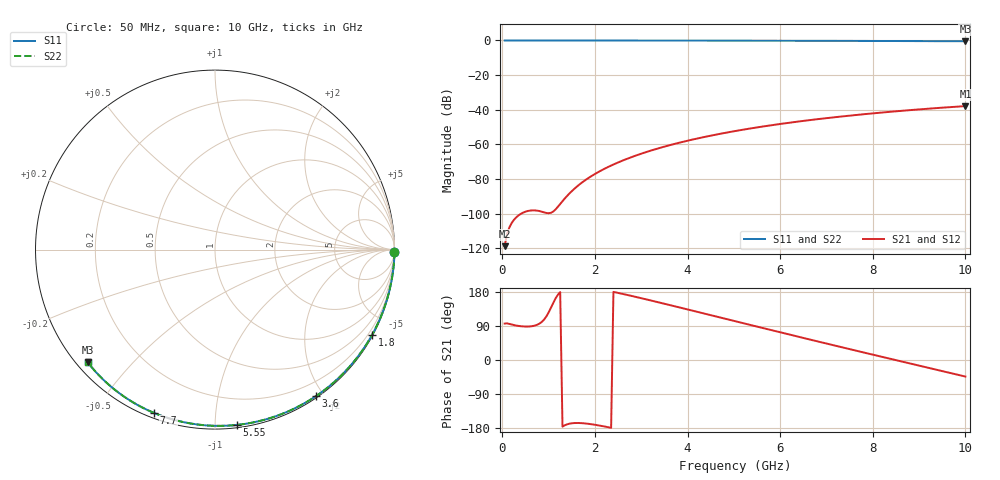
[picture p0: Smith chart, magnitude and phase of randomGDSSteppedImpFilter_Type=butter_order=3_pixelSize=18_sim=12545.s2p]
! freq	dB(S11)	phase(S11)	dB(S12)	phase(S12)
!  dB(S21)	phase(S21)	dB(S22)	phase(S22)
!S-par simulation data
#  GHz  S  DB  R 50
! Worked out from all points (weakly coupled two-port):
!   200 points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, 50 MHz to 10 GHz, reference 50 ohm
!   highest |S21| = -37.93 dB at 10 GHz (marker M1); lowest = -118.9 dB at 50 MHz (marker M2)
!   lowest |S11| = -0.5 dB at 10 GHz (marker M3), VSWR 36.90, Z = 1.55 - j18.9 ohm
!   |S11| at or under -10 dB: nowhere
!   |S22| runs from -0.5 to 0.0 dB; largest |S21 - S12| = 0
!   S11 on the Smith chart (normalised r, x): 50 MHz: open; 1.8 GHz: 0.03, -3.95; 3.6 GHz: 0.02, -1.90; 5.55 GHz: 0.02, -1.13; 7.7 GHz: 0.02, -0.69; 10 GHz: 0.03, -0.38
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0.05  -0.00 -0.8  -118.86 96.1  -118.86 96.1  -0.00 -0.8
0.45  -0.01 -7.2  -99.48 88.5  -99.48 88.5  -0.01 -7.2
0.9  -0.02 -14.3  -99.30 106.4  -99.30 106.4  -0.02 -14.3
1.75  -0.04 -27.6  -81.51 -166.9  -81.51 -166.9  -0.04 -27.6
1.8  -0.04 -28.4  -80.56 -167.5  -80.56 -167.5  -0.04 -28.4
1.85  -0.04 -29.2  -79.65 -168.2  -79.65 -168.2  -0.04 -29.2
2.05  -0.04 -32.3  -76.38 -171.9  -76.38 -171.9  -0.04 -32.3
2.25  -0.05 -35.3  -73.55 -176.5  -73.55 -176.5  -0.05 -35.3
2.55  -0.05 -39.9  -69.92 175.8  -69.92 175.8  -0.05 -39.9
2.95  -0.06 -45.9  -65.88 164.6  -65.88 164.6  -0.06 -45.9
3.4  -0.07 -52.6  -62.09 151.4  -62.09 151.4  -0.07 -52.6
3.6  -0.07 -55.5  -60.61 145.5  -60.61 145.5  -0.07 -55.5
3.9  -0.08 -59.8  -58.56 136.5  -58.56 136.5  -0.08 -59.8
4.3  -0.09 -65.5  -56.12 124.4  -56.12 124.4  -0.09 -65.5
5.05  -0.12 -76.0  -52.23 101.8  -52.23 101.8  -0.12 -76.0
5.55  -0.14 -82.8  -50.03 86.7  -50.03 86.7  -0.14 -82.8
6.1  -0.16 -90.1  -47.89 70.1  -47.89 70.1  -0.16 -90.1
6.7  -0.19 -97.9  -45.82 52.3  -45.82 52.3  -0.19 -97.9
7.7  -0.25 -110.5  -42.90 22.8  -42.90 22.8  -0.25 -110.5
8.35  -0.30 -118.5  -41.28 3.9  -41.28 3.9  -0.30 -118.5
9.2  -0.38 -128.9  -39.42 -20.6  -39.42 -20.6  -0.38 -128.9
10  -0.47 -138.5  -37.93 -43.7  -37.93 -43.7  -0.47 -138.5
